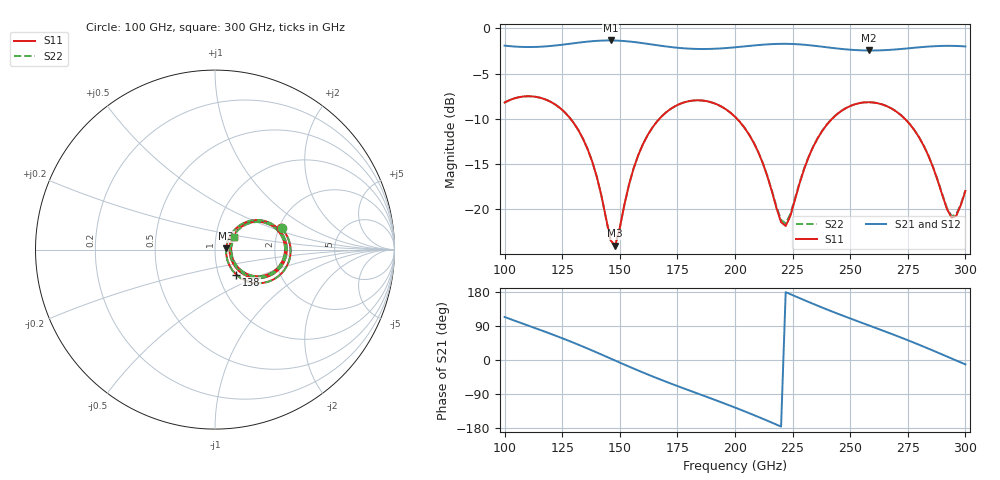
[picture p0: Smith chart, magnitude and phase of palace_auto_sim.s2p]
#  GHZ S DB R 50
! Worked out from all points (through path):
!   101 points, 100 GHz to 300 GHz, reference 50 ohm
!   highest |S21| = -1.35 dB at 146 GHz (marker M1); lowest = -2.5 dB at 258 GHz (marker M2)
!   group delay of S21, straight-line fit = 6.75 ps
!   lowest |S11| = -24.0 dB at 148 GHz (marker M3), VSWR 1.13, Z = 56.7 + j0.842 ohm
!   |S11| at or under -10 dB: 128.6 GHz to 167.2 GHz (38.58 GHz wide, 26.1 % of centre); 200.9 GHz to 242.1 GHz (41.26 GHz wide, 18.6 % of centre); 273.7 GHz to end of sweep
!   |S22| runs from -24.1 to -7.5 dB; largest |S21 - S12| = 1.3e-12
!   S11 on the Smith chart (normalised r, x): 100 GHz: 2.07, +0.58; 138 GHz: 1.21, -0.35; 300 GHz: 1.22, +0.17
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100  -8.20 17.9  -1.92 113.5  -1.92 113.5  -8.20 17.8
110  -7.51 -1.0  -2.07 91.3  -2.07 91.3  -7.50 -1.1
118  -7.89 -16.2  -2.00 73.6  -2.00 73.6  -7.89 -16.3
126  -9.25 -31.4  -1.79 55.1  -1.79 55.1  -9.25 -31.4
134  -12.18 -45.2  -1.53 35.4  -1.53 35.4  -12.18 -45.3
138  -14.70 -49.6  -1.43 25.1  -1.43 25.1  -14.70 -49.7
146  -23.41 -22.1  -1.35 3.9  -1.35 3.9  -23.45 -22.2
148  -24.00 6.7  -1.36 -1.5  -1.36 -1.5  -24.06 6.7
158  -14.01 44.0  -1.58 -27.7  -1.58 -27.7  -14.02 44.2
168  -9.77 28.9  -1.94 -52.4  -1.94 -52.4  -9.78 29.1
184  -7.95 -0.2  -2.29 -88.9  -2.29 -88.9  -7.95 -0.0
200  -9.77 -28.1  -2.10 -125.5  -2.10 -125.5  -9.76 -27.8
210  -13.62 -41.0  -1.86 -149.9  -1.86 -149.9  -13.59 -40.4
220  -21.40 -15.3  -1.72 -175.7  -1.72 -175.7  -21.16 -14.6
222  -21.82 4.5  -1.72 179.1  -1.72 179.1  -21.54 4.5
234  -13.06 39.5  -1.92 148.0  -1.92 148.0  -13.01 38.8
246  -9.16 21.7  -2.28 118.9  -2.28 118.9  -9.14 21.3
258  -8.17 0.4  -2.46 91.5  -2.46 91.5  -8.16 0.1
268  -8.87 -17.3  -2.37 68.7  -2.37 68.7  -8.86 -17.5
280  -12.09 -35.5  -2.11 39.9  -2.11 39.9  -12.07 -35.5
294  -20.91 -5.7  -1.95 4.0  -1.95 4.0  -20.74 -5.9
300  -17.97 33.2  -2.01 -11.5  -2.01 -11.5  -17.88 32.3
